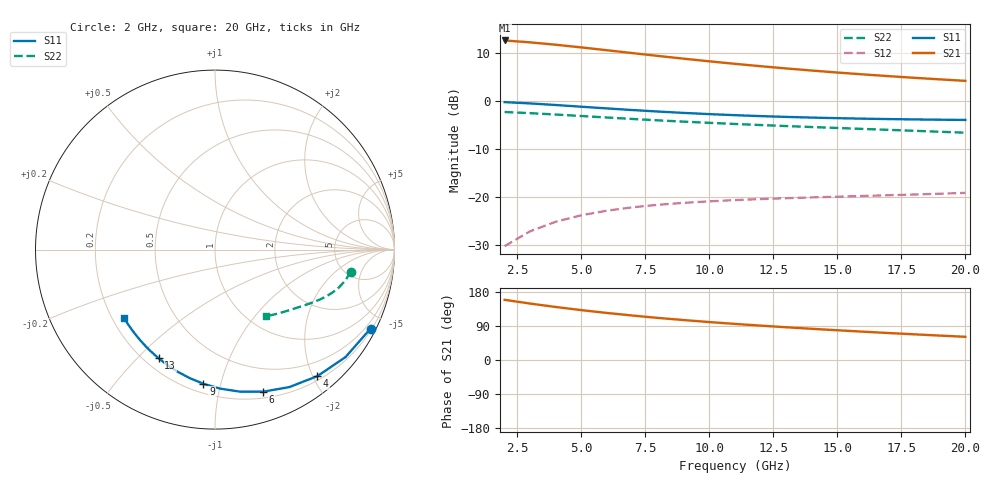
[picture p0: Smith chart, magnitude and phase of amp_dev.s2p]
# GHZ S MA R 50
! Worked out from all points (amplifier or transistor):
!   19 points, 2 GHz to 20 GHz, reference 50 ohm
!   highest |S21| = 12.6 dB at 2 GHz (marker M1)
!   |S21| within 3 dB of that: start of sweep to 7.621 GHz
!   unconditionally stable (mu >= 1): 14.67 GHz to end of sweep
!   at 5 GHz: K = 0.36, MSG = 17.5 dB, |S12| = -23.8 dB
!   at 11 GHz: K = 0.78, MSG = 14.2 dB, |S12| = -20.6 dB
!   at 20 GHz: K = 1.24, MAG = 8.7 dB, |S12| = -19.1 dB
!   S11 on the Smith chart (normalised r, x): 2 GHz: 0.26, -4.17; 4 GHz: 0.26, -2.07; 6 GHz: 0.26, -1.36; 9 GHz: 0.26, -0.88; 13 GHz: 0.26, -0.58; 20 GHz: 0.25, -0.32
2  0.9721 -26.9  4.258 158.8  0.03084 75.6  0.767 -9.2
3  0.9421 -39.4  4.068 148.9  0.0441 69.1  0.7463 -13.3
4  0.907 -51.0  3.842 139.9  0.05537 63.5  0.7221 -16.9
5  0.8707 -61.6  3.604 131.6  0.06467 58.7  0.6968 -20.1
6  0.8359 -71.2  3.367 124.1  0.0722 54.6  0.6722 -22.8
7  0.8039 -79.9  3.144 117.3  0.07825 51.3  0.6492 -25.2
8  0.7754 -87.8  2.938 111.0  0.08312 48.6  0.6281 -27.4
9  0.7506 -94.9  2.751 105.4  0.08705 46.5  0.609 -29.4
10  0.7292 -101.3  2.583 100.1  0.09028 44.9  0.5917 -31.4
11  0.7109 -107.2  2.432 95.2  0.09297 43.7  0.5759 -33.3
12  0.6953 -112.5  2.298 90.7  0.09528 42.9  0.5614 -35.1
13  0.6822 -117.4  2.178 86.4  0.09731 42.4  0.5479 -37.0
14  0.6711 -121.9  2.071 82.3  0.09916 42.1  0.5352 -39.0
15  0.6618 -126.0  1.975 78.5  0.1009 42.1  0.5232 -41.0
16  0.654 -129.9  1.889 74.8  0.1027 42.3  0.5115 -43.1
17  0.6475 -133.4  1.811 71.2  0.1044 42.7  0.5002 -45.3
18  0.6422 -136.8  1.74 67.8  0.1063 43.2  0.4891 -47.7
19  0.6379 -139.9  1.677 64.4  0.1083 43.9  0.4781 -50.1
20  0.6345 -142.8  1.618 61.2  0.1105 44.7  0.4672 -52.7
